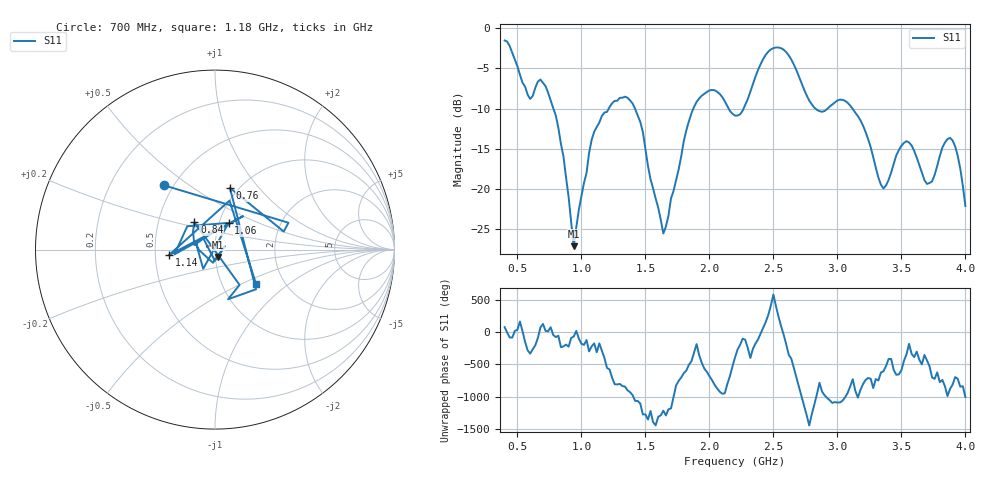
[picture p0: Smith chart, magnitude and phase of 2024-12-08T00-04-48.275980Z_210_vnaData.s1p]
!Created with skrf (http://scikit-rf.org).
# Hz S RI R 50.0
!freq ReS11 ImS11
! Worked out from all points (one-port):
!   181 points, 400 MHz to 4 GHz, reference 50 ohm
!   lowest |S11| = -27.1 dB at 940 MHz (marker M1), VSWR 1.09, Z = 51.5 - j4.21 ohm
!   |S11| at or under -10 dB: 781.1 MHz to 1.214 GHz (432.6 MHz wide, 43.4 % of centre); 1.418 GHz to 1.875 GHz (456.5 MHz wide, 27.7 % of centre); 3.118 GHz to end of sweep (the widest 3 of 5)
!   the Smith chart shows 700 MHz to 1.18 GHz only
!   S11 on the Smith chart (normalised r, x): 700 MHz: 0.44, +0.40; 760 MHz: 0.91, +0.72; 840 MHz: 0.76, +0.24; 1.06 GHz: 1.11, +0.34; 1.14 GHz: 0.59, -0.04; 1.18 GHz: 1.44, -0.61
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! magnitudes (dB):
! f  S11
! 400 MHz  -1.5
! 600 MHz  -8.8
! 700 MHz  -6.8
! 760 MHz  -9.0
! 840 MHz  -14.4
! 860 MHz  -16.0
! 940 MHz  -27.1
! 1.06 GHz  -15.5
! 1.14 GHz  -11.7
! 1.18 GHz  -10.5
! 1.3 GHz  -8.7
! 1.46 GHz  -11.7
! 1.64 GHz  -25.6
! 1.76 GHz  -17.6
! 1.84 GHz  -11.6
! 1.94 GHz  -8.4
! 2.04 GHz  -7.7
! 2.2 GHz  -10.9
! 2.48 GHz  -2.6
! 2.66 GHz  -4.5
! 2.84 GHz  -10.2
! 3.1 GHz  -9.6
! 3.2 GHz  -12.1
! 3.36 GHz  -20.0
! 3.56 GHz  -14.2
! 3.7 GHz  -19.4
! 3.9 GHz  -14.0
! 4 GHz  -22.1
